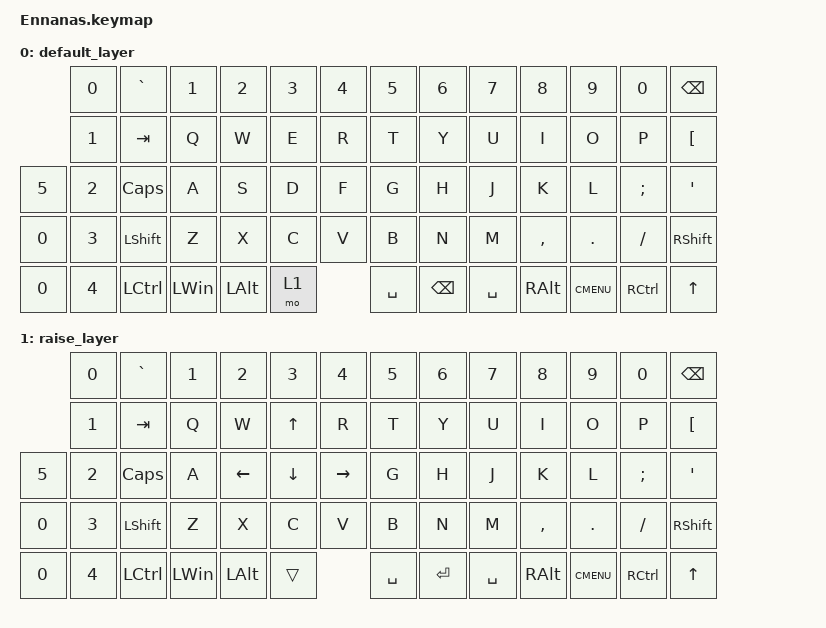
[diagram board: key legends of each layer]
#include <behaviors.dtsi>
#include <dt-bindings/zmk/keys.h>
 / {
        keymap {
                compatible = "zmk,keymap";

                default_layer {
// -------------------------------------------------------------------------------------------------
//         |  N0  |   | `    |  N1  |  N2  |  N3  |  N4  |  N5   |      |  N6  |  N7  |  N8  |  N9  |  N0   | BSPC  |
//         |  N1  |   | TAB  |  Q   |  W   |  E   |  R   |  T    |      |  Y   |  U   |  I   |  O   |  P    |  [    |
// |  N5   |  N2  |   | CAPS |  A   |  S   |  D   |  F   |  G    |      |  H   |  J   |  K   |  L   |  ;    | '     |
// |  N0   |  N3  |   | SHFT |  Z   |  X   |  C   |  V   |  B    |      |  N   |  M   |  ,   |  .   |  /    | SHFT  |
// |  N0   |  N4  |   | CTRL | WIN  | ALT  |             | SPACE |      | BSPC | SPACE| ALT  | MENU | RCTRL | UP_ARROW


                        bindings = <
        &kp N0   &kp GRAVE   &kp N1    &kp N2   &kp N3   &kp N4   &kp N5          &kp N6   &kp N7    &kp N8    &kp N9       &kp N0     &kp BSPC
        &kp N1   &kp TAB     &kp Q     &kp W    &kp E    &kp R    &kp T           &kp Y    &kp U     &kp I     &kp O        &kp P      &kp LBKT    
&kp N5  &kp N2   &kp CAPS    &kp A     &kp S    &kp D    &kp F    &kp G           &kp H    &kp J     &kp K     &kp L        &kp SCLN   &kp QUOT
&kp N0  &kp N3   &kp LSHFT   &kp Z     &kp X    &kp C    &kp V    &kp B           &kp N    &kp M     &kp COMMA &kp DOT      &kp FSLH   &kp RSHFT
&kp N0  &kp N4   &kp LCTRL   &kp LWIN  &kp LALT    &mo 1      &kp SPACE       &kp BSPC &kp SPACE &kp RALT  &kp K_CMENU  &kp RCTRL  &kp UP_ARROW
                        >;
                };

                raise_layer {
// -------------------------------------------------------------------------------------------------
//         |  N0  |   | `    |  N1  |  N2  |  N3  |  N4  |  N5   |      |  N6  |  N7  |  N8  |  N9  |  N0   | BSPC  |
//         |  N1  |   | TAB  |  Q   |  W   |  E   |  R   |  T    |      |  Y   |  U   |  I   |  O   |  P    |  [    |
// |  N5   |  N2  |   | CAPS |  A   |  S   |  D   |  F   |  G    |      |  H   |  J   |  K   |  L   |  ;    | '     |
// |  N0   |  N3  |   | SHFT |  Z   |  X   |  C   |  V   |  B    |      |  N   |  M   |  ,   |  .   |  /    | SHFT  |
// |  N0   |  N4  |   | CTRL | WIN  | ALT  |             | SPACE |      | BSPC | SPACE| ALT  | MENU | RCTRL | UP_ARROW


                        bindings = <
        &kp N0   &kp GRAVE   &kp N1    &kp N2   &kp N3   &kp N4   &kp N5          &kp N6   &kp N7    &kp N8    &kp N9       &kp N0     &kp BSPC
        &kp N1   &kp TAB     &kp Q     &kp W    &kp UP    &kp R    &kp T           &kp Y    &kp U     &kp I     &kp O        &kp P      &kp LBKT    
&kp N5  &kp N2   &kp CAPS    &kp A     &kp LEFT   &kp DOWN    &kp RIGHT    &kp G           &kp H    &kp J     &kp K     &kp L        &kp SCLN   &kp QUOT
&kp N0  &kp N3   &kp LSHFT   &kp Z     &kp X    &kp C    &kp V    &kp B           &kp N    &kp M     &kp COMMA &kp DOT      &kp FSLH   &kp RSHFT
&kp N0  &kp N4   &kp LCTRL   &kp LWIN  &kp LALT    &trans      &kp SPACE       &kp ENTER &kp SPACE &kp RALT  &kp K_CMENU  &kp RCTRL  &kp UP_ARROW
                        >;
                };
        };
 };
